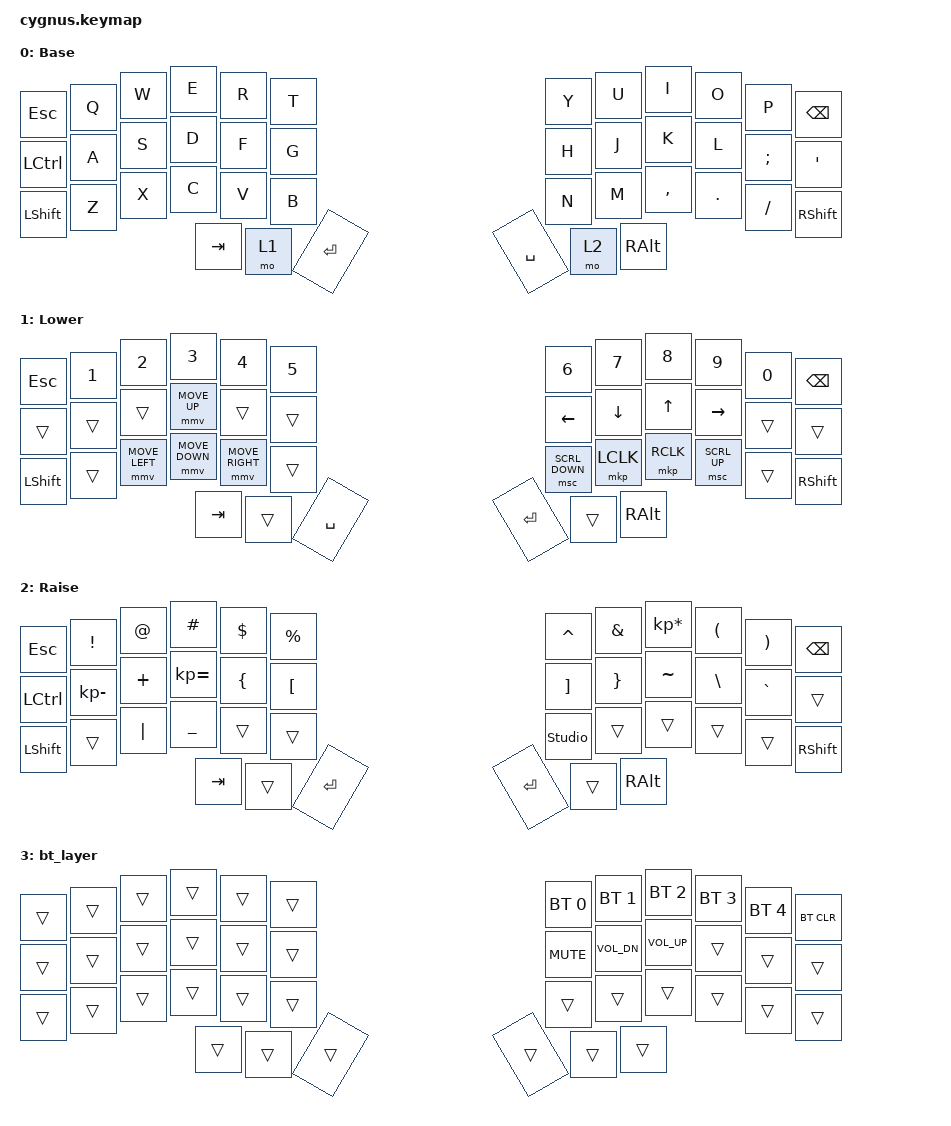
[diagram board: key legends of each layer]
/*
 * Copyright (c) 2020 The ZMK Contributors
 *
 * SPDX-License-Identifier: MIT
 */

#include <behaviors.dtsi>
#include <dt-bindings/zmk/bt.h>
#include <dt-bindings/zmk/keys.h>
#include <dt-bindings/zmk/pointing.h>

/ {
    keymap {
        compatible = "zmk,keymap";

        default_layer {
            display-name = "Base";
            bindings = <
&kp ESCAPE  &kp Q  &kp W  &kp E    &kp R  &kp T        &kp Y      &kp U  &kp I      &kp O    &kp P     &kp BSPC
&kp LCTRL   &kp A  &kp S  &kp D    &kp F  &kp G        &kp H      &kp J  &kp K      &kp L    &kp SEMI  &kp SQT
&kp LSHFT   &kp Z  &kp X  &kp C    &kp V  &kp B        &kp N      &kp M  &kp COMMA  &kp DOT  &kp FSLH  &kp RSHFT
                          &kp TAB  &mo 1  &kp ENTER    &kp SPACE  &mo 2  &kp RALT
            >;
        };

        lower_layer {
            display-name = "Lower";
            bindings = <
&kp ESCAPE  &kp N1  &kp N2  &kp N3          &kp N4          &kp N5                  &kp N6          &kp N7     &kp N8     &kp N9        &kp N0  &kp BSPC
&trans      &trans  &trans  &mmv MOVE_UP    &trans          &trans                  &kp LEFT        &kp DOWN   &kp UP     &kp RIGHT     &trans  &trans
&kp LSHFT   &trans  &mmv MOVE_LEFT &mmv MOVE_DOWN  &mmv MOVE_RIGHT &trans   &msc SCRL_DOWN  &mkp LCLK  &mkp RCLK  &msc SCRL_UP  &trans  &kp RIGHT_SHIFT
                            &kp TAB         &trans          &kp SPACE               &kp RET         &trans     &kp RALT
            >;
        };

        raise_layer {
            display-name = "Raise";
            bindings = <
&kp ESCAPE  &kp EXCL      &kp AT    &kp HASH        &kp DLLR        &kp PRCNT           &kp CARET          &kp AMPS         &kp KP_MULTIPLY  &kp LEFT_PARENTHESIS  &kp RIGHT_PARENTHESIS  &kp BSPC
&kp LCTRL   &kp KP_MINUS  &kp PLUS  &kp KP_EQUAL    &kp LEFT_BRACE  &kp LEFT_BRACKET    &kp RIGHT_BRACKET  &kp RIGHT_BRACE  &kp TILDE        &kp BACKSLASH         &kp GRAVE              &trans
&kp LSHFT   &trans        &kp PIPE  &kp UNDERSCORE  &trans          &trans              &studio_unlock     &trans           &trans           &trans                &trans                 &kp RIGHT_SHIFT
                                    &kp TAB         &trans          &kp ENTER           &kp RET            &trans           &kp RALT
            >;
        };

        bt_layer {
            bindings = <
&trans  &trans  &trans  &trans  &trans  &trans    &bt BT_SEL 0  &bt BT_SEL 1  &bt BT_SEL 2  &bt BT_SEL 3  &bt BT_SEL 4  &bt BT_CLR
&trans  &trans  &trans  &trans  &trans  &trans    &kp C_MUTE    &kp C_VOL_DN  &kp C_VOL_UP  &trans        &trans        &trans
&trans  &trans  &trans  &trans  &trans  &trans    &trans        &trans        &trans        &trans        &trans        &trans
                        &trans  &trans  &trans    &trans        &trans        &trans
            >;
        };
    };

    conditional_layers {
        compatible = "zmk,conditional-layers";

        tri_layer {
            if-layers = <1 2>;
            then-layer = <3>;
        };
    };
};

